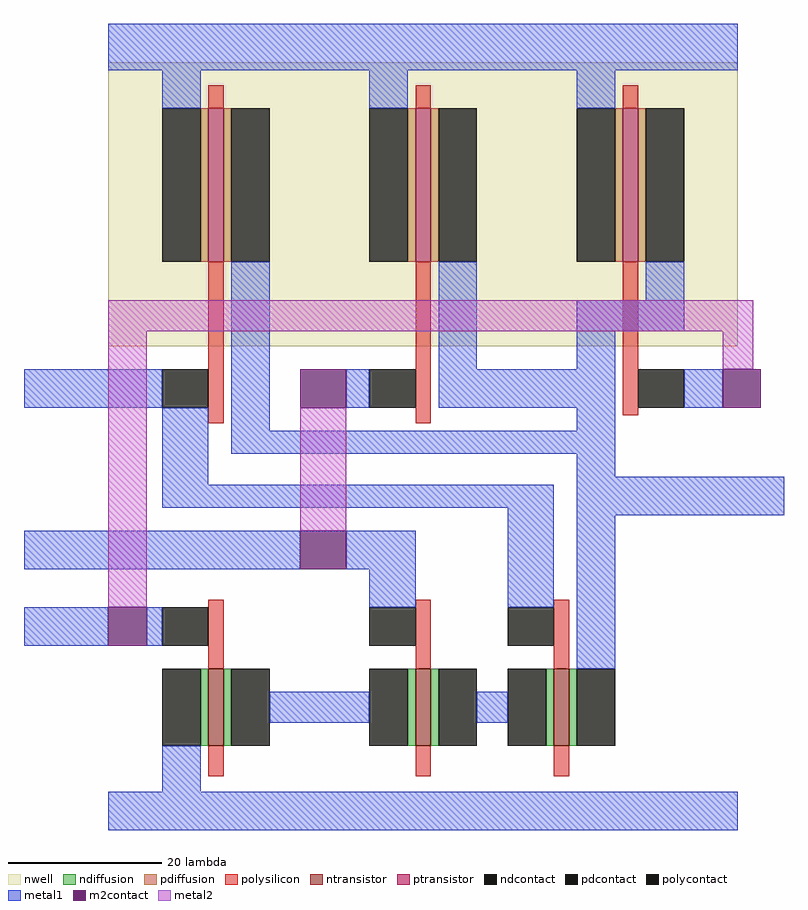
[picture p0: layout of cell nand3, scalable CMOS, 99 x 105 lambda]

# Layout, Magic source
magic
tech scmos
<< nwell >>
rect 64 61 146 98
<< ntransistor >>
rect 77 9 79 19
rect 104 9 106 19
rect 122 9 124 19
<< ptransistor >>
rect 77 72 79 92
rect 104 72 106 92
rect 131 72 133 92
<< ndiffusion >>
rect 76 9 77 19
rect 79 9 80 19
rect 103 9 104 19
rect 106 9 107 19
rect 121 9 122 19
rect 124 9 125 19
<< pdiffusion >>
rect 76 72 77 92
rect 79 72 80 92
rect 103 72 104 92
rect 106 72 107 92
rect 130 72 131 92
rect 133 72 134 92
<< ndcontact >>
rect 71 9 76 19
rect 80 9 85 19
rect 98 9 103 19
rect 107 9 112 19
rect 116 9 121 19
rect 125 9 130 19
<< pdcontact >>
rect 71 72 76 92
rect 80 72 85 92
rect 98 72 103 92
rect 107 72 112 92
rect 125 72 130 92
rect 134 72 139 92
<< polysilicon >>
rect 77 92 79 95
rect 104 92 106 95
rect 131 92 133 95
rect 77 51 79 72
rect 104 51 106 72
rect 131 52 133 72
rect 77 19 79 28
rect 104 19 106 28
rect 122 19 124 28
rect 77 5 79 9
rect 104 5 106 9
rect 122 5 124 9
<< polycontact >>
rect 71 53 77 58
rect 98 53 104 58
rect 133 53 139 58
rect 71 22 77 27
rect 98 22 104 27
rect 116 22 122 27
<< metal1 >>
rect 64 97 146 103
rect 71 92 76 97
rect 98 92 103 97
rect 125 92 130 97
rect 53 53 71 58
rect 71 43 77 53
rect 80 50 85 72
rect 107 58 112 72
rect 134 67 139 72
rect 125 63 139 67
rect 125 58 130 63
rect 95 53 98 58
rect 107 53 130 58
rect 139 53 144 58
rect 125 50 130 53
rect 80 47 130 50
rect 125 44 130 47
rect 71 40 122 43
rect 53 32 89 37
rect 95 32 104 37
rect 98 27 104 32
rect 53 22 64 27
rect 69 22 71 27
rect 116 27 122 40
rect 125 39 152 44
rect 125 19 130 39
rect 85 12 98 16
rect 112 12 116 16
rect 71 3 76 9
rect 64 -2 146 3
<< m2contact >>
rect 89 53 95 58
rect 144 53 149 58
rect 89 32 95 37
rect 64 22 69 27
<< metal2 >>
rect 64 63 148 67
rect 64 27 69 63
rect 144 58 148 63
rect 89 37 95 53
<< end >>
